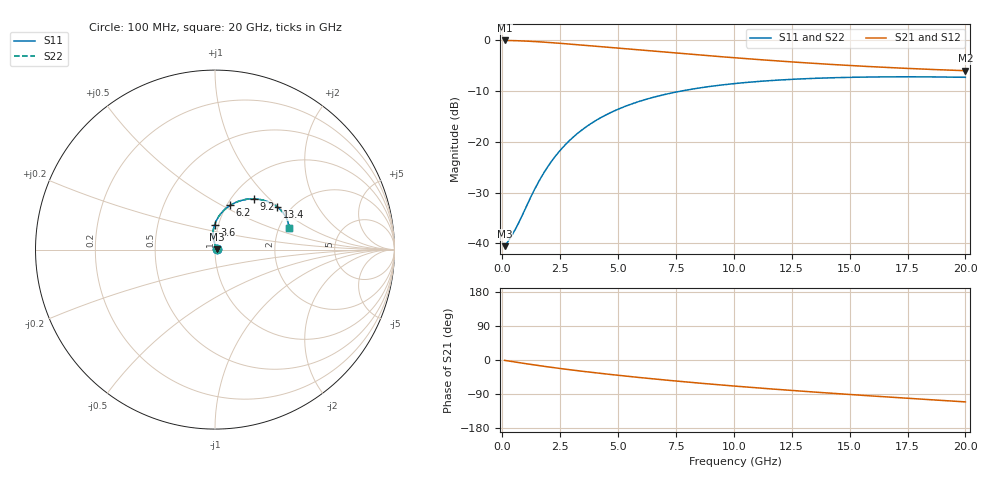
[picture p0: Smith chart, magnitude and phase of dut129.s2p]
! Touchstone file exported from HFSS 2024.1.0
!  File:  C:/UserFiles/LocalFiles/RDL_TSV_Batchsim/temp_RDL_TSV_129_1779426676.aedt
!  Generated:  01:30:11 PM May 22, 2026
!  Design:  RDL_TSV
!  Project:  temp_RDL_TSV_129_1779426676
!  Setup:  Setup1
!  Solution:  Sweep
! Variables:
!  dtsv = 5.73um
!  hbump = 3um
!  htsv = 69.46um
!  ldown = 218.47um
!  lrdl = 172.31um
!  p = 40
!  p1 = 54.83um
!  rhole = 10um
!  subl = 1344.65um
!  t = 450um
!  tdown = 4.04um
!  trdl = 2.92um
!  viad = 10um
!  wdown = 15.25um
!  wrdl = 24.43um
!  xbump = 18um
# GHz S MA R 50.000000
! Terminal data exported
! Port[1] = TM1_1_T1
! Port[2] = TM1_4_T1
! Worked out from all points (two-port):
!   200 points, 100 MHz to 20 GHz, reference 50 ohm
!   highest |S21| = -0.08 dB at 100 MHz (marker M1); lowest = -6.0 dB at 20 GHz (marker M2)
!   |S21| within 3 dB of the highest: start of sweep to 8.904 GHz
!   lowest |S11| = -40.6 dB at 100 MHz (marker M3), VSWR 1.02, Z = 50.9 + j0.221 ohm
!   |S11| at or under -10 dB: start of sweep to 7.769 GHz
!   |S22| runs from -40.6 to -7.2 dB; largest |S21 - S12| = 9.3e-15
!   S11 on the Smith chart (normalised r, x): 100 MHz: 1.02, +0.00; 3.6 GHz: 0.96, +0.27; 6.2 GHz: 1.04, +0.55; 9.2 GHz: 1.26, +0.81; 13.4 GHz: 1.70, +0.98; 20 GHz: 2.26, +0.68
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0.1  0.009382 13.4  0.9907 -1.0  0.9907 -1.0  0.009382 13.4
! Gamma 0 0 0 0
! Port Impedance 50 0 50 0
0.3  0.0109 34.7  0.9891 -2.9  0.9891 -2.9  0.0109 34.7
0.6  0.01425 58.8  0.9852 -5.8  0.9852 -5.8  0.01425 58.9
1.4  0.03414 93.1  0.9666 -13.2  0.9666 -13.2  0.03415 93.1
1.7  0.04552 96.9  0.9572 -15.8  0.9572 -15.8  0.04554 96.9
2  0.05841 98.3  0.9469 -18.4  0.9469 -18.4  0.05844 98.4
2.3  0.07241 98.2  0.9359 -20.8  0.9359 -20.8  0.07245 98.3
2.7  0.09226 96.8  0.9208 -24.0  0.9208 -24.0  0.09232 96.8
3.1  0.1129 94.4  0.9052 -27.1  0.9052 -27.1  0.1129 94.4
3.5  0.1337 91.5  0.8896 -30.0  0.8896 -30.0  0.1338 91.6
3.6  0.1389 90.8  0.8857 -30.8  0.8857 -30.8  0.139 90.8
4.2  0.1697 86.1  0.8626 -35.0  0.8626 -35.0  0.1698 86.2
4.8  0.1992 81.4  0.8399 -39.0  0.8399 -39.0  0.1993 81.4
6.2  0.2607 71.0  0.789 -47.9  0.789 -47.9  0.261 71.0
6.8  0.2836 66.9  0.7683 -51.5  0.7683 -51.5  0.2839 66.9
7.9  0.3202 60.0  0.7321 -57.7  0.7321 -57.7  0.3205 60.0
9.2  0.3551 52.7  0.6926 -64.6  0.6926 -64.6  0.3554 52.7
10.1  0.3745 48.2  0.6675 -69.2  0.6675 -69.2  0.3749 48.2
11.7  0.4008 41.1  0.6273 -76.7  0.6273 -76.7  0.4012 41.1
13.4  0.4193 34.6  0.5908 -84.3  0.5908 -84.3  0.4198 34.6
16.7  0.4345 24.3  0.5363 -97.8  0.5363 -97.8  0.435 24.4
20  0.4299 16.5  0.4993 -110.6  0.4993 -110.6  0.4304 16.6
